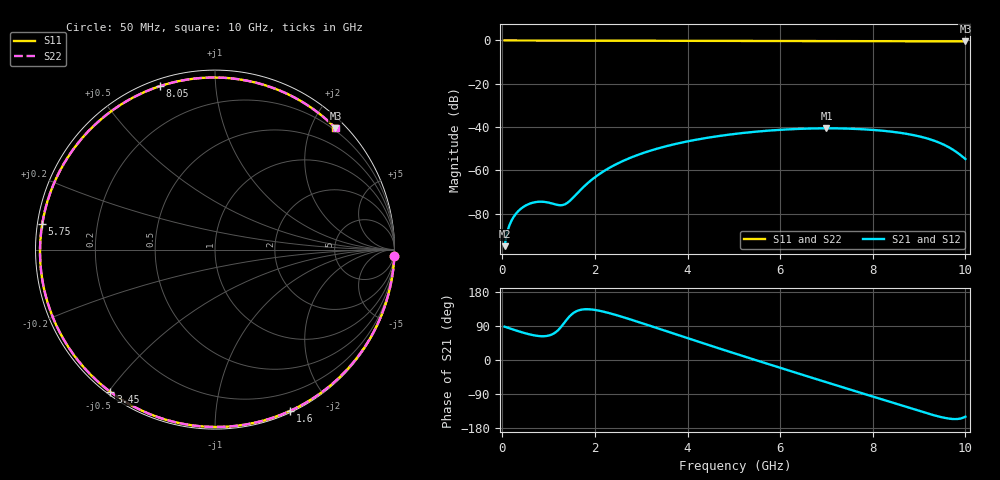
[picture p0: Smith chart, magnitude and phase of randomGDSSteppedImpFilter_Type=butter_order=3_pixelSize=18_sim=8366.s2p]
! freq	dB(S11)	phase(S11)	dB(S12)	phase(S12)
!  dB(S21)	phase(S21)	dB(S22)	phase(S22)
!S-par simulation data
#  GHz  S  DB  R 50
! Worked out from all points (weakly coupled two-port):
!   200 points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, 50 MHz to 10 GHz, reference 50 ohm
!   highest |S21| = -40.57 dB at 7 GHz (marker M1); lowest = -95.0 dB at 50 MHz (marker M2)
!   lowest |S11| = -0.4 dB at 10 GHz (marker M3), VSWR 41.70, Z = 8.08 + j120 ohm
!   |S11| at or under -10 dB: nowhere
!   |S22| runs from -0.4 to 0.0 dB; largest |S21 - S12| = 0
!   S11 on the Smith chart (normalised r, x): 50 MHz: 0, -53; 1.6 GHz: 0.02, -1.57; 3.45 GHz: 0.01, -0.51; 5.75 GHz: 0.01, +0.07; 8.05 GHz: 0.03, +0.72; 10 GHz: 0.16, +2.39
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0.05  -0.00 -2.1  -94.98 87.9  -94.98 87.9  -0.00 -2.1
0.3  -0.02 -12.7  -79.86 77.8  -79.86 77.8  -0.02 -12.7
0.5  -0.03 -21.1  -76.26 70.4  -76.26 70.4  -0.03 -21.1
0.75  -0.04 -31.4  -74.54 63.8  -74.54 63.8  -0.04 -31.4
1.3  -0.06 -53.4  -76.01 92.0  -76.01 92.0  -0.06 -53.4
1.6  -0.08 -64.9  -70.98 128.6  -70.98 128.6  -0.08 -64.9
1.75  -0.08 -70.5  -67.72 133.6  -67.72 133.6  -0.08 -70.5
2.05  -0.09 -81.3  -62.39 131.1  -62.39 131.1  -0.09 -81.3
2.45  -0.11 -95.0  -57.24 118.9  -57.24 118.9  -0.11 -95.0
3.4  -0.14 -124.8  -49.62 81.8  -49.62 81.8  -0.14 -124.8
3.45  -0.14 -126.3  -49.33 79.8  -49.33 79.8  -0.14 -126.3
4.25  -0.17 -148.9  -45.58 47.6  -45.58 47.6  -0.17 -148.9
5.05  -0.20 -170.3  -43.08 16.1  -43.08 16.1  -0.20 -170.3
5.75  -0.24 171.5  -41.63 -11.0  -41.63 -11.0  -0.24 171.5
6.7  -0.28 146.5  -40.64 -47.4  -40.64 -47.4  -0.28 146.5
7  -0.30 138.4  -40.57 -58.8  -40.57 -58.8  -0.30 138.4
8.05  -0.35 108.6  -41.38 -98.3  -41.38 -98.3  -0.35 108.6
8.35  -0.36 99.6  -41.98 -109.7  -41.98 -109.7  -0.36 99.6
8.85  -0.37 84.0  -43.58 -128.6  -43.58 -128.6  -0.37 83.9
9.35  -0.38 67.6  -46.47 -146.8  -46.47 -146.8  -0.38 67.5
9.7  -0.40 55.7  -50.02 -155.4  -50.02 -155.4  -0.40 55.6
10  -0.42 45.2  -54.75 -149.6  -54.75 -149.6  -0.42 45.2
